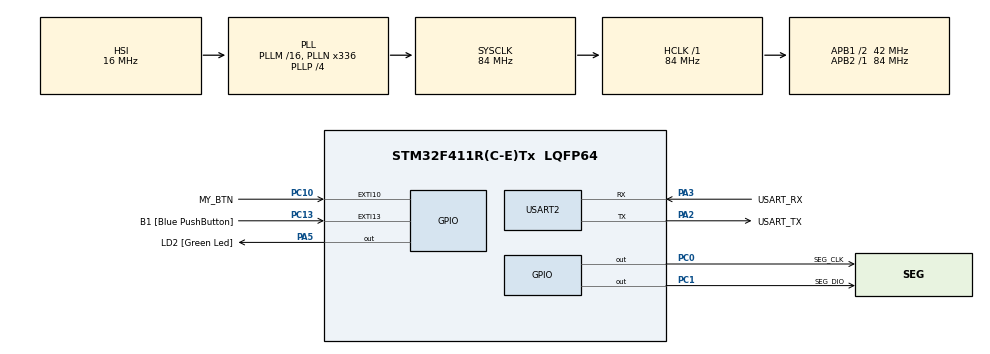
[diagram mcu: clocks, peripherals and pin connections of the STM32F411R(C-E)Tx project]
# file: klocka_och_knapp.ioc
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Mcu.Family=STM32F4
Mcu.Name=STM32F411R(C-E)Tx
Mcu.Package=LQFP64
NVIC.EXTI15_10_IRQn=true\:0\:0\:false\:false\:true\:true\:true\:true
NVIC.PriorityGroup=NVIC_PRIORITYGROUP_0
NVIC.TIM1_UP_TIM10_IRQn=true\:0\:0\:false\:false\:true\:true\:true\:true
PA13.GPIO_Label=TMS
PA13.Mode=Serial_Wire
PA13.Signal=SYS_JTMS-SWDIO
PA14.GPIO_Label=TCK
PA14.Mode=Serial_Wire
PA14.Signal=SYS_JTCK-SWCLK
PA2.GPIO_Label=USART_TX
PA2.Mode=Asynchronous
PA2.Signal=USART2_TX
PA3.GPIO_Label=USART_RX
PA3.Mode=Asynchronous
PA3.Signal=USART2_RX
PA5.GPIO_Label=LD2 [Green Led]
PA5.Signal=GPIO_Output
PB3.GPIO_Label=SWO
PB3.Signal=SYS_JTDO-SWO
PC0.GPIO_Label=SEG_CLK
PC0.Signal=GPIO_Output
PC1.GPIO_Label=SEG_DIO
PC1.GPIO_ModeDefaultOutputPP=GPIO_MODE_OUTPUT_OD
PC1.GPIO_PuPd=GPIO_NOPULL
PC1.Signal=GPIO_Output
PC10.GPIO_Label=MY_BTN
PC10.GPIO_ModeDefaultEXTI=GPIO_MODE_IT_FALLING
PC10.Signal=GPXTI10
PC13-ANTI_TAMP.GPIO_Label=B1 [Blue PushButton]
PC13-ANTI_TAMP.GPIO_ModeDefaultEXTI=GPIO_MODE_IT_FALLING
PC13-ANTI_TAMP.Signal=GPXTI13
PC14-OSC32_IN.Mode=LSE-External-Oscillator
PC14-OSC32_IN.Signal=RCC_OSC32_IN
PC15-OSC32_OUT.Mode=LSE-External-Oscillator
PC15-OSC32_OUT.Signal=RCC_OSC32_OUT
PH0\ -\ OSC_IN.Mode=HSE-External-Clock-Source
PH0\ -\ OSC_IN.Signal=RCC_OSC_IN
PH1\ -\ OSC_OUT.Mode=HSE-External-Clock-Source
PH1\ -\ OSC_OUT.Signal=RCC_OSC_OUT
ProjectManager.HeapSize=0x200
ProjectManager.StackSize=0x400
ProjectManager.TargetToolchain=STM32CubeIDE
RCC.48MHZClocksFreq_Value=84000000
RCC.AHBFreq_Value=84000000
RCC.APB1CLKDivider=RCC_HCLK_DIV2
RCC.APB1Freq_Value=42000000
RCC.APB1TimFreq_Value=84000000
RCC.APB2Freq_Value=84000000
RCC.APB2TimFreq_Value=84000000
RCC.CortexFreq_Value=84000000
RCC.FLatency-AdvancedSettings=FLASH_LATENCY_2
RCC.HCLKFreq_Value=84000000
RCC.HSE_VALUE=8000000
RCC.HSI_VALUE=16000000
RCC.PLLN=336
RCC.PLLP=RCC_PLLP_DIV4
RCC.SYSCLKFreq_VALUE=84000000
RCC.SYSCLKSource=RCC_SYSCLKSOURCE_PLLCLK
RCC.VCOOutputFreq_Value=336000000
TIM1.Period=1000-1
TIM1.Prescaler=42000-1
USART2.VirtualMode=VM_ASYNC
VP_TIM1_VS_ClockSourceINT.Mode=Internal
board=NUCLEO-F411RE

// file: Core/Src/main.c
/* USER CODE BEGIN Header */
/**
  ******************************************************************************
  * @file           : main.c
  * @brief          : Main program body
  ******************************************************************************
  * @attention
  *
  * Copyright (c) 2023 STMicroelectronics.
  * All rights reserved.
  *
  * This software is licensed under terms that can be found in the LICENSE file
  * in the root directory of this software component.
  * If no LICENSE file comes with this software, it is provided AS-IS.
  *
  ******************************************************************************
  */
/* USER CODE END Header */
#include "main.h"

/* USER CODE BEGIN Includes */
#include <stdio.h>
#include "quad_sseg.h"
/* USER CODE END Includes */

/* USER CODE BEGIN PD */
#define BOUNCE_DELAY_MS 100
/* USER CODE END PD */

TIM_HandleTypeDef htim1;
UART_HandleTypeDef huart2;

/* USER CODE BEGIN PV */
uint32_t time = 0;
uint32_t has_managed_curr_time_exti = 0;
// uint16_t button_exti_count;
// uint16_t button_debounced_count;
uint16_t button_click_count = 0;
uint16_t last_flank_causing_exti = 0;
uint16_t last_managed_exti = 0;

enum state {
  HH_MM = 0,
  MM_SS = 1
};

enum state curr_st = MM_SS;
/* USER CODE END PV */

void SystemClock_Config(void);
static void MX_GPIO_Init(void);
static void MX_USART2_UART_Init(void);
static void MX_TIM1_Init(void);

/* USER CODE BEGIN 0 */
static void uart_print_menu() {
  char str[100] = { '\0' };
  uint16_t str_len = 0;
  str_len = sprintf(str, "\r\n\r\n\r\nThis is a very nice menu, yes?\r\nChoose your density:\r\n\r\n\t1. Clock Mode.\r\n\t2. Button Mode.\r\n\r\n");
  HAL_UART_Transmit(&huart2, (uint8_t*) str, str_len, HAL_MAX_DELAY);
}

static int uart_get_menu_choice()
{
  char str[1] = { '\0' };
  uint16_t str_len = 1;
  HAL_UART_Receive(&huart2,
             	  (uint8_t *) str,
                  str_len,
                  HAL_MAX_DELAY);

  int ret = -1;
  sscanf(str, "%d", &ret);

  return ret;
}

static void uart_print_bad_choice() {
  char str[100] = { '\0' };
  uint16_t str_len = 0;
  str_len = sprintf(str, "\r\nYou entered an invalid choice.\r\n");
  HAL_UART_Transmit(&huart2, (uint8_t*) str, str_len, HAL_MAX_DELAY);
}

void increment(uint16_t *H2, uint16_t *H1, uint16_t *M2, uint16_t *M1, uint16_t *S2, uint16_t *S1) {
    if (*S1 < 9)
    {
      (*S1)++;
    }
    else
    {
      *S1 = 0;
      if (*S2 < 5)
      {
        (*S2)++;
      }
      else
      {
        *S2 = 0;
        if (*M1 < 9)
        {
          (*M1)++;
        }
        else
        {
          *M1 = 0;
          if (*M2 < 5)
          {
            (*M2)++;
          }
          else
          {
            *M2 = 0;
            if (*H1 < 3) {
              (*H1)++;
            }
            else {
              *H1 = 0;
              if (*H2 < 2) {
                (*H2)++;
              }
              else {
                *H2 = 0;
              }
            }
          }
        }
      }
    }
}

void HAL_TIM_PeriodElapsedCallback(TIM_HandleTypeDef *htim)
{
	if (htim->Instance == TIM1)
	{
		time += 1;
    has_managed_curr_time_exti = 0;
	}
}

void clock_mode()
{
  uint16_t H2=1, H1=0, M2=5, M1=9, S2=3, S1=9;
  HAL_TIM_Base_Start_IT(&htim1);
  while (1)
  {
    if (has_managed_curr_time_exti == 0)
    {
      if (time % 2 == 0)
      {

        switch (curr_st)
        {
        case HH_MM:
          qs_put_digits(H2, H1, M2, M1, 1);
          break;
        case MM_SS:
          qs_put_digits(M2, M1, S2, S1, 1);
          break;

        default:
          break;
        }
      }
      else
      {

        switch (curr_st)
        {
        case HH_MM:
          qs_put_digits(H2, H1, M2, M1, 0);
          break;
        case MM_SS:
          qs_put_digits(M2, M1, S2, S1, 0);
          break;

        default:
          break;
        }

        // increment timer
        increment(&H2, &H1, &M2, &M1, &S2, &S1);
        has_managed_curr_time_exti = 1;
      }
    }
  }
}

static int is_there_unhandled_exti()
{
	return last_flank_causing_exti != last_managed_exti;
}

static int has_enough_time_passed(uint32_t bounce_delay) {
  uint32_t now = HAL_GetTick();
  return (now - last_flank_causing_exti) > bounce_delay;
}

static int read_button() {
  return (GPIO_PIN_RESET == HAL_GPIO_ReadPin(MY_BTN_GPIO_Port, MY_BTN_Pin));
}

void button_mode()
{
  int my_btn_pressed = 0;
  int _bool_answer = 0;
  qs_put_big_num(button_click_count);
  while (1)
  {
    _bool_answer = is_there_unhandled_exti();
    if (_bool_answer)
    {
      if(has_enough_time_passed(BOUNCE_DELAY_MS)) {
        my_btn_pressed = read_button();
        button_click_count++;
        last_managed_exti = last_flank_causing_exti;
      }
    }
    if (my_btn_pressed)
      qs_put_big_num(button_click_count);
  }
}

/* USER CODE END 0 */

int main(void)
{

  /* MCU Configuration--------------------------------------------------------*/

  /* Reset of all peripherals, Initializes the Flash interface and the Systick. */
  HAL_Init();

  /* Configure the system clock */
  SystemClock_Config();

  /* Initialize all configured peripherals */
  MX_GPIO_Init();
  MX_USART2_UART_Init();
  MX_TIM1_Init();

  /* Infinite loop */
  /* USER CODE BEGIN WHILE */
  qs_put_big_num(2023);
  int menu_choice = -1;
  while (1)
  {
      uart_print_menu();
      menu_choice = uart_get_menu_choice();
      {
        switch (menu_choice)
        {
          case 1:
            clock_mode();
            break;

          case 2:
            button_mode();
            break;

          default:
            uart_print_bad_choice();
            break;
       }
    }
    /* USER CODE END WHILE */

  }
}

void SystemClock_Config(void)
{
  RCC_OscInitTypeDef RCC_OscInitStruct = {0};
  RCC_ClkInitTypeDef RCC_ClkInitStruct = {0};

  /** Configure the main internal regulator output voltage
  */
  __HAL_RCC_PWR_CLK_ENABLE();
  __HAL_PWR_VOLTAGESCALING_CONFIG(PWR_REGULATOR_VOLTAGE_SCALE1);

  /** Initializes the RCC Oscillators according to the specified parameters
  * in the RCC_OscInitTypeDef structure.
  */
  RCC_OscInitStruct.OscillatorType = RCC_OSCILLATORTYPE_HSI;
  RCC_OscInitStruct.HSIState = RCC_HSI_ON;
  RCC_OscInitStruct.HSICalibrationValue = RCC_HSICALIBRATION_DEFAULT;
  RCC_OscInitStruct.PLL.PLLState = RCC_PLL_ON;
  RCC_OscInitStruct.PLL.PLLSource = RCC_PLLSOURCE_HSI;
  RCC_OscInitStruct.PLL.PLLM = 16;
  RCC_OscInitStruct.PLL.PLLN = 336;
  RCC_OscInitStruct.PLL.PLLP = RCC_PLLP_DIV4;
  RCC_OscInitStruct.PLL.PLLQ = 4;
  if (HAL_RCC_OscConfig(&RCC_OscInitStruct) != HAL_OK)
  {
    Error_Handler();
  }

  /** Initializes the CPU, AHB and APB buses clocks
  */
  RCC_ClkInitStruct.ClockType = RCC_CLOCKTYPE_HCLK|RCC_CLOCKTYPE_SYSCLK
                              |RCC_CLOCKTYPE_PCLK1|RCC_CLOCKTYPE_PCLK2;
  RCC_ClkInitStruct.SYSCLKSource = RCC_SYSCLKSOURCE_PLLCLK;
  RCC_ClkInitStruct.AHBCLKDivider = RCC_SYSCLK_DIV1;
  RCC_ClkInitStruct.APB1CLKDivider = RCC_HCLK_DIV2;
  RCC_ClkInitStruct.APB2CLKDivider = RCC_HCLK_DIV1;

  if (HAL_RCC_ClockConfig(&RCC_ClkInitStruct, FLASH_LATENCY_2) != HAL_OK)
  {
    Error_Handler();
  }
}

static void MX_TIM1_Init(void)
{

  TIM_ClockConfigTypeDef sClockSourceConfig = {0};
  TIM_MasterConfigTypeDef sMasterConfig = {0};

  htim1.Instance = TIM1;
  htim1.Init.Prescaler = 42000-1;
  htim1.Init.CounterMode = TIM_COUNTERMODE_UP;
  htim1.Init.Period = 1000-1;
  htim1.Init.ClockDivision = TIM_CLOCKDIVISION_DIV1;
  htim1.Init.RepetitionCounter = 0;
  htim1.Init.AutoReloadPreload = TIM_AUTORELOAD_PRELOAD_DISABLE;
  if (HAL_TIM_Base_Init(&htim1) != HAL_OK)
  {
    Error_Handler();
  }
  sClockSourceConfig.ClockSource = TIM_CLOCKSOURCE_INTERNAL;
  if (HAL_TIM_ConfigClockSource(&htim1, &sClockSourceConfig) != HAL_OK)
  {
    Error_Handler();
  }
  sMasterConfig.MasterOutputTrigger = TIM_TRGO_RESET;
  sMasterConfig.MasterSlaveMode = TIM_MASTERSLAVEMODE_DISABLE;
  if (HAL_TIMEx_MasterConfigSynchronization(&htim1, &sMasterConfig) != HAL_OK)
  {
    Error_Handler();
  }

}

static void MX_USART2_UART_Init(void)
{

  huart2.Instance = USART2;
  huart2.Init.BaudRate = 115200;
  huart2.Init.WordLength = UART_WORDLENGTH_8B;
  huart2.Init.StopBits = UART_STOPBITS_1;
  huart2.Init.Parity = UART_PARITY_NONE;
  huart2.Init.Mode = UART_MODE_TX_RX;
  huart2.Init.HwFlowCtl = UART_HWCONTROL_NONE;
  huart2.Init.OverSampling = UART_OVERSAMPLING_16;
  if (HAL_UART_Init(&huart2) != HAL_OK)
  {
    Error_Handler();
  }

}

static void MX_GPIO_Init(void)
{
  GPIO_InitTypeDef GPIO_InitStruct = {0};

  /* GPIO Ports Clock Enable */
  __HAL_RCC_GPIOC_CLK_ENABLE();
  __HAL_RCC_GPIOH_CLK_ENABLE();
  __HAL_RCC_GPIOA_CLK_ENABLE();
  __HAL_RCC_GPIOB_CLK_ENABLE();

  /*Configure GPIO pin Output Level */
  HAL_GPIO_WritePin(GPIOC, SEG_CLK_Pin|SEG_DIO_Pin, GPIO_PIN_RESET);

  /*Configure GPIO pin Output Level */
  HAL_GPIO_WritePin(LD2_GPIO_Port, LD2_Pin, GPIO_PIN_RESET);

  /*Configure GPIO pins : B1_Pin MY_BTN_Pin */
  GPIO_InitStruct.Pin = B1_Pin|MY_BTN_Pin;
  GPIO_InitStruct.Mode = GPIO_MODE_IT_FALLING;
  GPIO_InitStruct.Pull = GPIO_NOPULL;
  HAL_GPIO_Init(GPIOC, &GPIO_InitStruct);

  /*Configure GPIO pin : SEG_CLK_Pin */
  GPIO_InitStruct.Pin = SEG_CLK_Pin;
  GPIO_InitStruct.Mode = GPIO_MODE_OUTPUT_PP;
  GPIO_InitStruct.Pull = GPIO_NOPULL;
  GPIO_InitStruct.Speed = GPIO_SPEED_FREQ_LOW;
  HAL_GPIO_Init(SEG_CLK_GPIO_Port, &GPIO_InitStruct);

  /*Configure GPIO pin : SEG_DIO_Pin */
  GPIO_InitStruct.Pin = SEG_DIO_Pin;
  GPIO_InitStruct.Mode = GPIO_MODE_OUTPUT_OD;
  GPIO_InitStruct.Pull = GPIO_NOPULL;
  GPIO_InitStruct.Speed = GPIO_SPEED_FREQ_LOW;
  HAL_GPIO_Init(SEG_DIO_GPIO_Port, &GPIO_InitStruct);

  /*Configure GPIO pin : LD2_Pin */
  GPIO_InitStruct.Pin = LD2_Pin;
  GPIO_InitStruct.Mode = GPIO_MODE_OUTPUT_PP;
  GPIO_InitStruct.Pull = GPIO_NOPULL;
  GPIO_InitStruct.Speed = GPIO_SPEED_FREQ_LOW;
  HAL_GPIO_Init(LD2_GPIO_Port, &GPIO_InitStruct);

  /* EXTI interrupt init*/
  HAL_NVIC_SetPriority(EXTI15_10_IRQn, 0, 0);
  HAL_NVIC_EnableIRQ(EXTI15_10_IRQn);

}

/* USER CODE BEGIN 4 */
void HAL_GPIO_EXTI_Callback( uint16_t GPIO_Pin ) {
    if(GPIO_Pin == MY_BTN_Pin)
    {
      last_flank_causing_exti = HAL_GetTick();
    }

    if(GPIO_Pin == B1_Pin)
    {
      switch (curr_st)
      {
        case HH_MM:
          curr_st = MM_SS;
          break;

        case MM_SS:
          curr_st = HH_MM;
          break;
      }
    }
}
/* USER CODE END 4 */

void Error_Handler(void)
{
  __disable_irq();
  while (1)
  {
  }
}
